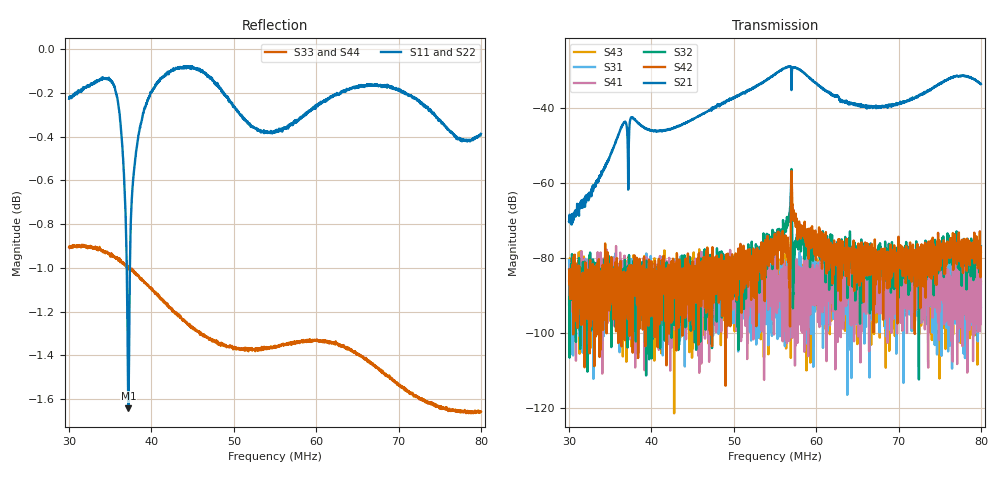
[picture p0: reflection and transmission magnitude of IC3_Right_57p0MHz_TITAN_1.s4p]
#  HZ  S  DB  R  50.00
! Rohde & Schwarz Vector Network Analyzer
! Rohde-Schwarz,ZNB8-4Port,1311601044102961,2.82
! Created: UTC 2/8/2019, 3:07:50 PM
! freq[Hz]  db:S11  ang:S11  db:S12  ang:S12  db:S13  ang:S13  db:S14  ang:S14
!  db:S21  ang:S21  db:S22  ang:S22  db:S23  ang:S23  db:S24  ang:S24
!  db:S31  ang:S31  db:S32  ang:S32  db:S33  ang:S33  db:S34  ang:S34
!  db:S41  ang:S41  db:S42  ang:S42  db:S43  ang:S43  db:S44  ang:S44
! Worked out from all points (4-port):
!   2001 points, 30 MHz to 80 MHz, reference 50 ohm
!   strongest paths, dB at 30 MHz, 42.5 MHz, 55 MHz, 67.5 MHz, 80 MHz:
!     S21: -70.3, -45.5, -31.0, -40.0, -33.6
!     S42: -86.3, -89.2, -75.6, -78.7, -78.3
!     S32: -83.1, -84.2, -73.6, -80.7, -76.8
!     S41: -90.9, -86.1, -86.3, -87.5, -86.9
!     S31: -80.6, -92.2, -86.1, -88.3, -93.0
!     S43: -92.4, -87.6, -91.2, -85.0, -86.3
!   lowest |S11| = -1.6 dB at 37.2 MHz (marker M1), VSWR 10.61, Z = 124 + j220 ohm
!   |S11| at or under -10 dB: nowhere
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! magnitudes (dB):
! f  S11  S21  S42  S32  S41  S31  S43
! 30 MHz  -0.2  -70.3  -86.3  -83.1  -90.9  -80.6  -92.4
! 37.2 MHz  -1.6  -60.9  -86.8  -86.4  -85.1  -83.4  -79.8
! 53.12 MHz  -0.4  -33.7  -79.4  -78.0  -94.3  -100.0  -84.2
! 56.83 MHz  -0.3  -28.9  -98.2  -66.6  -90.4  -101.2  -85.5
! 57.35 MHz  -0.3  -29.3  -69.0  -79.0  -88.6  -87.2  -87.1
! 66.4 MHz  -0.2  -39.6  -82.2  -78.9  -94.3  -85.3  -88.8
! 80 MHz  -0.4  -33.6  -78.3  -76.8  -86.9  -93.0  -86.3
